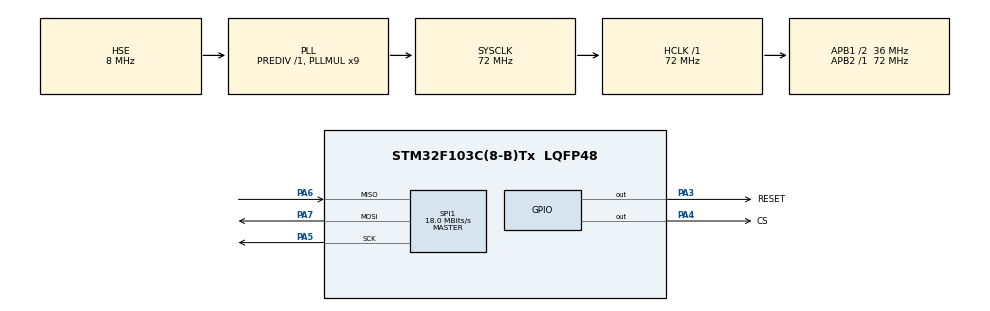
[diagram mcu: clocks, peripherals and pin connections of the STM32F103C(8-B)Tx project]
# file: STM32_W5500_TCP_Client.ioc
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Mcu.Family=STM32F1
Mcu.Name=STM32F103C(8-B)Tx
Mcu.Package=LQFP48
NVIC.PriorityGroup=NVIC_PRIORITYGROUP_4
PA13.Mode=Serial_Wire
PA13.Signal=SYS_JTMS-SWDIO
PA14.Mode=Serial_Wire
PA14.Signal=SYS_JTCK-SWCLK
PA3.GPIO_Label=RESET
PA3.GPIO_Speed=GPIO_SPEED_FREQ_HIGH
PA3.PinState=GPIO_PIN_SET
PA3.Signal=GPIO_Output
PA4.GPIO_Label=CS
PA4.GPIO_Speed=GPIO_SPEED_FREQ_HIGH
PA4.PinState=GPIO_PIN_SET
PA4.Signal=GPIO_Output
PA5.Mode=Full_Duplex_Master
PA5.Signal=SPI1_SCK
PA6.Mode=Full_Duplex_Master
PA6.Signal=SPI1_MISO
PA7.Mode=Full_Duplex_Master
PA7.Signal=SPI1_MOSI
PD0-OSC_IN.Mode=HSE-External-Oscillator
PD0-OSC_IN.Signal=RCC_OSC_IN
PD1-OSC_OUT.Mode=HSE-External-Oscillator
PD1-OSC_OUT.Signal=RCC_OSC_OUT
ProjectManager.HeapSize=0x200
ProjectManager.StackSize=0x400
ProjectManager.TargetToolchain=STM32CubeIDE
RCC.AHBFreq_Value=72000000
RCC.APB1CLKDivider=RCC_HCLK_DIV2
RCC.APB1Freq_Value=36000000
RCC.APB1TimFreq_Value=72000000
RCC.APB2Freq_Value=72000000
RCC.APB2TimFreq_Value=72000000
RCC.HCLKFreq_Value=72000000
RCC.PLLMUL=RCC_PLL_MUL9
RCC.PLLSourceVirtual=RCC_PLLSOURCE_HSE
RCC.SYSCLKFreq_VALUE=72000000
RCC.SYSCLKSource=RCC_SYSCLKSOURCE_PLLCLK
RCC.USBFreq_Value=72000000
SPI1.BaudRatePrescaler=SPI_BAUDRATEPRESCALER_4
SPI1.CalculateBaudRate=18.0 MBits/s
SPI1.Direction=SPI_DIRECTION_2LINES
SPI1.Mode=SPI_MODE_MASTER
SPI1.VirtualType=VM_MASTER
board=custom

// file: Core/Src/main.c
/* USER CODE BEGIN Header */
/**
 ******************************************************************************
 * @file           : main.c
 * @brief          : Main program body
 ******************************************************************************
 * @attention
 *
 * Copyright (c) 2026 STMicroelectronics.
 * All rights reserved.
 *
 * This software is licensed under terms that can be found in the LICENSE file
 * in the root directory of this software component.
 * If no LICENSE file comes with this software, it is provided AS-IS.
 *
 ******************************************************************************
 */
/* USER CODE END Header */
#include "main.h"

/* USER CODE BEGIN Includes */
#include "wizchip_conf.h"
#include "wizchip_port.h"
#include "dhcp.h"
#include "dns.h"
#include "socket.h"
#include "usart1.h"
#include "tcp_client.h"
#include "dwt.h"
#include "timer2.h"
#include "timer3.h"
#include "i2c2.h"
#include "lcd.h"
#include "button.h"
#include "display.h"
/* USER CODE END Includes */

/* USER CODE BEGIN PM */
#define WEATHER_GET_TICKS 30000
/* USER CODE END PM */

SPI_HandleTypeDef hspi1;

void SystemClock_Config(void);
static void MX_GPIO_Init(void);
static void MX_SPI1_Init(void);

int main(void)
{

  /* MCU Configuration--------------------------------------------------------*/

  /* Reset of all peripherals, Initializes the Flash interface and the Systick. */
  HAL_Init();

  /* Configure the system clock */
  SystemClock_Config();

  /* Initialize all configured peripherals */
  MX_GPIO_Init();
  MX_SPI1_Init();
  /* USER CODE BEGIN 2 */
  DWT_Init();
  TIMER2_Init();
  USART1_Init();
  I2C2_Init();
  LCD_Init();
  TIMER4_Init();
  Button_Init();

  // Loop Counters
  uint32_t weather_count = 0;

  // Welcome Message
  USART1_SendString("============================\r\n");
  USART1_SendString("STM32 Project Initialization\r\n");
  USART1_SendString("============================\r\n");

  LCD_Clear();
  LCD_SendString("STM32 PROJECT");
  LCD_SetCursor(1, 0);
  LCD_SendString("INITIALIZING...");

  DWT_Delay_ms(2000);

  Display_Init();

  USART1_SendString("\r\n=== Weather Station ===\r\n");

  // Initialize W5500 with DHCP
  if(W5500_Init() != 0)
  {
    LCD_Clear();
    LCD_SetCursor(0, 0);
    LCD_SendString("Network Error!");
    LCD_SetCursor(1, 0);
    LCD_SendString("Check Ethernet");
    USART1_SendString("ERROR: W5500 initialization failed!\r\n");
    Error_Handler();
  }

  WeatherData_t weather;

  // Fetch weather data
  if(TCP_Client_Init() == 0)
  {
    TCP_Client_GetWeather(&weather);
    TCP_Client_Close();

    // Update display with weather data
    Display_UpdateWeather(&weather);
  }
  else
  {
    LCD_Clear();
    LCD_SetCursor(0, 0);
    LCD_SendString("Connection");
    LCD_SetCursor(1, 0);
    LCD_SendString("Failed!");
  }

  TIMER3_SetupPeriod(10);  // 10ms period
  /* USER CODE END 2 */

  /* Infinite loop */
  while(1)
  {
    Display_Handle();      // Handle button presses

    // Update weather every minute
    if(weather_count >= WEATHER_GET_TICKS)
    {
      weather_count = 0;

      USART1_SendString("\r\n=== Fetching Weather Update ===\r\n");

      // Show updating message
      LCD_Clear();
      LCD_SetCursor(0, 0);
      LCD_SendString("Updating...");
      LCD_SetCursor(1, 0);
      LCD_SendString("Getting Data");

      // Fetch new weather data
      if(TCP_Client_Init() == 0)
      {
        TCP_Client_GetWeather(&weather);
        TCP_Client_Close();
        Display_UpdateWeather(&weather);
        USART1_SendString("Weather updated!\r\n");
      }
      else
      {
        USART1_SendString("Update failed!\r\n");
        LCD_Clear();
        LCD_SetCursor(0, 0);
        LCD_SendString("Update Failed");
        LCD_SetCursor(1, 0);
        LCD_SendString("Retry next time");
        Display_UpdateWeather(&weather);
      }
    }

    weather_count++;

    TIMER3_WaitPeriod();  // Wait for 10ms tick
  }
  /* USER CODE END 3 */
}

void SystemClock_Config(void)
{
  RCC_OscInitTypeDef RCC_OscInitStruct = {0};
  RCC_ClkInitTypeDef RCC_ClkInitStruct = {0};

  /** Initializes the RCC Oscillators according to the specified parameters
   * in the RCC_OscInitTypeDef structure.
   */
  RCC_OscInitStruct.OscillatorType = RCC_OSCILLATORTYPE_HSE;
  RCC_OscInitStruct.HSEState = RCC_HSE_ON;
  RCC_OscInitStruct.HSEPredivValue = RCC_HSE_PREDIV_DIV1;
  RCC_OscInitStruct.HSIState = RCC_HSI_ON;
  RCC_OscInitStruct.PLL.PLLState = RCC_PLL_ON;
  RCC_OscInitStruct.PLL.PLLSource = RCC_PLLSOURCE_HSE;
  RCC_OscInitStruct.PLL.PLLMUL = RCC_PLL_MUL9;
  if(HAL_RCC_OscConfig(&RCC_OscInitStruct) != HAL_OK)
  {
    Error_Handler();
  }

  /** Initializes the CPU, AHB and APB buses clocks
   */
  RCC_ClkInitStruct.ClockType = RCC_CLOCKTYPE_HCLK | RCC_CLOCKTYPE_SYSCLK | RCC_CLOCKTYPE_PCLK1 | RCC_CLOCKTYPE_PCLK2;
  RCC_ClkInitStruct.SYSCLKSource = RCC_SYSCLKSOURCE_PLLCLK;
  RCC_ClkInitStruct.AHBCLKDivider = RCC_SYSCLK_DIV1;
  RCC_ClkInitStruct.APB1CLKDivider = RCC_HCLK_DIV2;
  RCC_ClkInitStruct.APB2CLKDivider = RCC_HCLK_DIV1;

  if(HAL_RCC_ClockConfig(&RCC_ClkInitStruct, FLASH_LATENCY_2) != HAL_OK)
  {
    Error_Handler();
  }
}

static void MX_SPI1_Init(void)
{

  /* SPI1 parameter configuration*/
  hspi1.Instance = SPI1;
  hspi1.Init.Mode = SPI_MODE_MASTER;
  hspi1.Init.Direction = SPI_DIRECTION_2LINES;
  hspi1.Init.DataSize = SPI_DATASIZE_8BIT;
  hspi1.Init.CLKPolarity = SPI_POLARITY_LOW;
  hspi1.Init.CLKPhase = SPI_PHASE_1EDGE;
  hspi1.Init.NSS = SPI_NSS_SOFT;
  hspi1.Init.BaudRatePrescaler = SPI_BAUDRATEPRESCALER_4;
  hspi1.Init.FirstBit = SPI_FIRSTBIT_MSB;
  hspi1.Init.TIMode = SPI_TIMODE_DISABLE;
  hspi1.Init.CRCCalculation = SPI_CRCCALCULATION_DISABLE;
  hspi1.Init.CRCPolynomial = 10;
  if(HAL_SPI_Init(&hspi1) != HAL_OK)
  {
    Error_Handler();
  }

}

static void MX_GPIO_Init(void)
{
  GPIO_InitTypeDef GPIO_InitStruct = {0};

  /* GPIO Ports Clock Enable */
  __HAL_RCC_GPIOD_CLK_ENABLE();
  __HAL_RCC_GPIOA_CLK_ENABLE();

  /*Configure GPIO pin Output Level */
  HAL_GPIO_WritePin(GPIOA, RESET_Pin | CS_Pin, GPIO_PIN_SET);

  /*Configure GPIO pins : RESET_Pin CS_Pin */
  GPIO_InitStruct.Pin = RESET_Pin | CS_Pin;
  GPIO_InitStruct.Mode = GPIO_MODE_OUTPUT_PP;
  GPIO_InitStruct.Pull = GPIO_NOPULL;
  GPIO_InitStruct.Speed = GPIO_SPEED_FREQ_HIGH;
  HAL_GPIO_Init(GPIOA, &GPIO_InitStruct);

}

void Error_Handler(void)
{
  __disable_irq();
  while(1)
  {
  }
}
